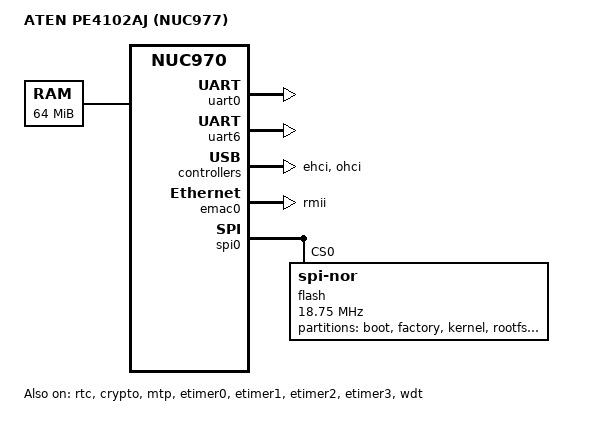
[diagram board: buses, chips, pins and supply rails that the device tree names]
// SPDX-License-Identifier: GPL-2.0
/*
 * ATEN PE4102AJ / PE4102G eco PDU (Nuvoton NUC977, 64 MiB DDR)
 *
 * SPI-NOR boot and root (Macronix MX25L25635F, 32 MiB) with the vendor's
 * 14-partition dual-bank layout, console on UART0 (PE0/PE1), metering MCU on
 * UART6 (must use PG11/PG12: PB2 is the buzzer), IC+ IP101GA PHY on EMAC0.
 *
 * U-Boot 2013.04 boots a uImage with ATAGs; the kernel appends this DTB and
 * merges U-Boot's bootargs (root= follows the selected bank) after the
 * bootargs below (CONFIG_ARM_ATAG_DTB_COMPAT_CMDLINE_EXTEND).
 */

/dts-v1/;

/* the BSP keeps the first page away from the kernel */
/memreserve/ 0x00000000 0x00001000;

#include "nuvoton-nuc970.dtsi"

/ {
	model = "ATEN PE4102AJ (NUC977)";
	compatible = "aten,pe4102aj", "aten,pe4102", "nuvoton,nuc977",
		     "nuvoton,nuc970";

	aliases {
		serial0 = &uart0;
		serial6 = &uart6;
		ethernet0 = &emac0;
		spi0 = &spi0;
	};

	chosen {
		stdout-path = "serial0:115200n8";
		bootargs = "console=ttyS0,115200n8 earlycon";
	};

	memory@0 {
		device_type = "memory";
		reg = <0x00000000 0x04000000>;
	};
};

&uart0 {
	pinctrl-names = "default";
	pinctrl-0 = <&pinctrl_uart0>;
	status = "okay";
};

/* metering MCU link (/dev/ttyS6) */
&uart6 {
	pinctrl-names = "default";
	pinctrl-0 = <&pinctrl_uart6_pg>;
	status = "okay";
};

/* PB12 also feeds the external watchdog (see arch/arm/mach-nuc970) */
&gpio {
	status = "okay";
};

/*
 * Retune APLL to 96 MHz and feed the 48 MHz USB engine clock from it, as the
 * vendor kernel's USB host driver did (the system clock runs from UPLL).
 */
&clk {
	assigned-clocks = <&clk NUC970_CLK_APLL>,
			  <&clk NUC970_CLK_USB_APLLDIV>,
			  <&clk NUC970_CLK_USB_ECLK_MUX>,
			  <&clk NUC970_CLK_USB_ECLK>;
	assigned-clock-parents = <0>, <0>, <&clk NUC970_CLK_USB_APLLDIV>, <0>;
	assigned-clock-rates = <96000000>, <96000000>, <0>, <48000000>;
};

&rtc {
	status = "okay";
};

&gdma {
	status = "okay";
};

&crypto {
	status = "okay";
};

/* MTP key store status for libmtp_api.so (read-only, see nuc970-mtp.c) */
&mtp {
	status = "okay";
};

/*
 * USB host as on the vendor kernel: port power PE14/PE15, shared
 * over-current input PH1, active low. (The PE4102AJ property.xml declares
 * no USB port; kept for parity with the vendor kernel.)
 */
&ehci {
	pinctrl-names = "default";
	pinctrl-0 = <&pinctrl_usbh_ppwr_pe>;
	status = "okay";
};

&ohci {
	nuvoton,oc-active-low;
	status = "okay";
};

/*
 * ETIMERs as /dev/etimer0..3 for the vendor userland: etimer0 measures the
 * mains zero-cross input on PB3 (zero_detect_mgr), etimer1 is started by
 * bin/etimer from rcS, etimer2/3 are delays for libshift_reg_api and
 * libzero_detect_api, and etimer3 also carries monitord's software watchdog
 * ioctls. The vendor kernel muxed PB3 only when capture started, hence the
 * "cap" state instead of "default".
 */
&etimer0 {
	pinctrl-names = "cap";
	pinctrl-0 = <&pinctrl_etimer0_cap_pb>;
	status = "okay";
};

&etimer1 {
	status = "okay";
};

&etimer2 {
	status = "okay";
};

&etimer3 {
	status = "okay";
};

&emac0 {
	phy-mode = "rmii";
	status = "okay";
};

&spi0 {
	status = "okay";

	flash@0 {
		compatible = "jedec,spi-nor";
		reg = <0>;
		spi-max-frequency = <18750000>;
		spi-tx-bus-width = <1>;
		spi-rx-bus-width = <4>;
		/*
		 * The boot ROM reads with 3-byte addresses after a soft reset.
		 * MX25L25635F uses 4-byte opcodes, but if the E variant (or a
		 * failed SFDP read) forces 4-byte mode, leave it on shutdown.
		 */
		broken-flash-reset;

		partitions {
			compatible = "fixed-partitions";
			#address-cells = <1>;
			#size-cells = <1>;

			partition@0 {
				label = "boot";
				reg = <0x00000000 0x00080000>;
				read-only;
			};
			partition@80000 {
				label = "factory";
				reg = <0x00080000 0x00080000>;
			};
			partition@100000 {
				label = "kernel";
				reg = <0x00100000 0x00280000>;
			};
			partition@380000 {
				label = "rootfs";
				reg = <0x00380000 0x00900000>;
			};
			partition@c80000 {
				label = "kernel redund";
				reg = <0x00c80000 0x00280000>;
			};
			partition@f00000 {
				label = "rootfs redund";
				reg = <0x00f00000 0x00900000>;
			};
			partition@1800000 {
				label = "kernel default";
				reg = <0x01800000 0x00200000>;
			};
			partition@1a00000 {
				label = "rootfs default";
				reg = <0x01a00000 0x00300000>;
			};
			partition@1d00000 {
				label = "config1";
				reg = <0x01d00000 0x00080000>;
			};
			partition@1d80000 {
				label = "config2";
				reg = <0x01d80000 0x00080000>;
			};
			partition@1e00000 {
				label = "data1";
				reg = <0x01e00000 0x00080000>;
			};
			partition@1e80000 {
				label = "data2";
				reg = <0x01e80000 0x00080000>;
			};
			partition@1f00000 {
				label = "event1";
				reg = <0x01f00000 0x00080000>;
			};
			partition@1f80000 {
				label = "event2";
				reg = <0x01f80000 0x00080000>;
			};
		};
	};
};

&wdt {
	status = "okay";
};
